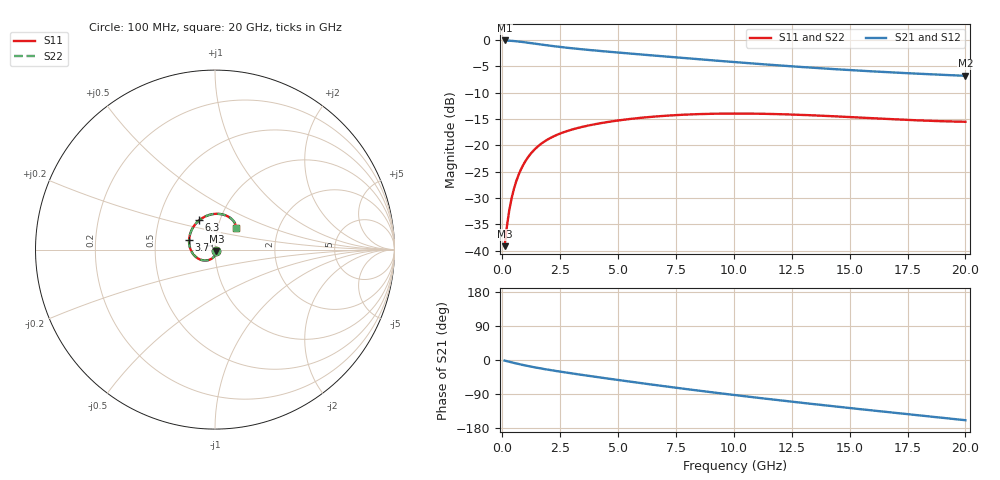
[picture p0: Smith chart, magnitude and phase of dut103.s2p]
! Touchstone file exported from HFSS 2023.1.0
!  File:  D:/Users/fzz/RDL_TSV/temp_RDL_TSV_103_1778749095.aedt
!  Generated:  5:06:46 %x4E0B%x5348  5%x6708 14, 2026
!  Design:  RDL_TSV
!  Project:  temp_RDL_TSV_103_1778749095
!  Setup:  Setup1
!  Solution:  Sweep
! Variables:
!  dtsv = 18.35um
!  hbump = 3um
!  htsv = 63.59um
!  ldown = 386.3um
!  lrdl = 212.92um
!  p = 40
!  p1 = 44.61um
!  rhole = 10um
!  subl = 2010.58um
!  t = 450um
!  tdown = 3.72um
!  trdl = 4.86um
!  viad = 10um
!  wdown = 20.23um
!  wrdl = 28.28um
!  xbump = 18um
# GHz S MA R 50.000000
! Terminal data exported
! Port[1] = TM1_1_T1
! Port[2] = TM1_4_T1
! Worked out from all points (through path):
!   200 points, 100 MHz to 20 GHz, reference 50 ohm
!   highest |S21| = -0.08 dB at 100 MHz (marker M1); lowest = -6.8 dB at 20 GHz (marker M2)
!   group delay of S21, straight-line fit = 21 ps
!   lowest |S11| = -39.2 dB at 100 MHz (marker M3), VSWR 1.02, Z = 50.8 - j0.785 ohm
!   |S11| at or under -10 dB: start of sweep to end of sweep
!   |S22| runs from -39.2 to -14.0 dB; largest |S21 - S12| = 1.4e-14
!   S11 on the Smith chart (normalised r, x): 100 MHz: 1.02, -0.02; 3.7 GHz: 0.74, +0.08; 6.3 GHz: 0.80, +0.27; 20 GHz: 1.22, +0.31
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0.1  0.01102 -44.5  0.991 -1.6  0.991 -1.6  0.01102 -44.5
! Gamma 0 0 0 0
! Port Impedance 50 0 50 0
0.2  0.01708 -67.2  0.989 -3.2  0.989 -3.2  0.01708 -67.2
0.3  0.02408 -80.3  0.9861 -4.7  0.9861 -4.7  0.02408 -80.3
0.4  0.03129 -89.5  0.9826 -6.2  0.9826 -6.2  0.03129 -89.5
0.5  0.03845 -96.9  0.9784 -7.6  0.9784 -7.6  0.03845 -96.9
0.7  0.0522 -108.9  0.9685 -10.5  0.9685 -10.5  0.0522 -108.9
1  0.07084 -123.5  0.9507 -14.5  0.9507 -14.5  0.07084 -123.5
1.4  0.09159 -139.7  0.9246 -19.4  0.9246 -19.4  0.09158 -139.7
1.9  0.1117 -156.6  0.8929 -24.8  0.8929 -24.8  0.1116 -156.6
2.6  0.132 -176.1  0.8545 -31.6  0.8545 -31.6  0.132 -176.1
3.5  0.1506 163.6  0.8146 -39.8  0.8146 -39.8  0.1505 163.6
3.7  0.154 159.6  0.8067 -41.6  0.8067 -41.6  0.154 159.6
5  0.1722 136.9  0.7608 -52.7  0.7608 -52.7  0.1722 136.9
6.3  0.1854 118.4  0.7199 -63.6  0.7199 -63.6  0.1854 118.4
6.8  0.1893 112.2  0.7049 -67.6  0.7049 -67.6  0.1892 112.2
8.4  0.1977 94.8  0.6596 -80.2  0.6596 -80.2  0.1976 94.8
10.1  0.2004 80.1  0.6159 -93.0  0.6159 -93.0  0.2004 80.0
11.7  0.1984 69.1  0.5793 -104.4  0.5793 -104.4  0.1984 69.1
13.4  0.1928 60.2  0.5457 -116.1  0.5457 -116.1  0.1928 60.1
15  0.1857 54.0  0.5187 -126.7  0.5187 -126.7  0.1857 53.9
16.7  0.1778 49.7  0.4944 -137.8  0.4944 -137.8  0.1779 49.5
20  0.1675 47.0  0.4575 -158.9  0.4575 -158.9  0.1675 46.7
